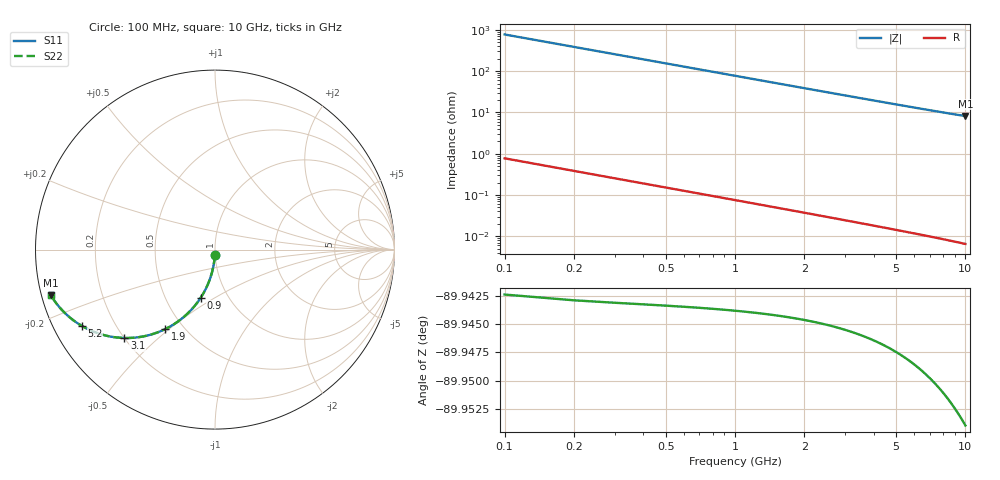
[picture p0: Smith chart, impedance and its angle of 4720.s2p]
# Hz S RI R 50.00
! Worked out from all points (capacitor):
!   100 points, 100 MHz to 10 GHz, reference 50 ohm
!   read as one part in shunt: C = 2.07 pF near 100 MHz
!   lowest |Z| = 8.14 ohm at 10 GHz (marker M1)
!   S11 on the Smith chart (normalised r, x): 100 MHz: 1.00, -0.06; 900 MHz: 0.75, -0.43; 1.9 GHz: 0.40, -0.48; 3.1 GHz: 0.20, -0.39; 5.2 GHz: 0.08, -0.26; 10 GHz: 0.03, -0.14
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1e8  -0.00104 -0.0323  0.9989 -0.0327  0.9989 -0.0327  -0.00104 -0.0323
2e8  -0.00422 -0.0643  0.9957 -0.0652  0.9957 -0.0652  -0.00422 -0.0643
3e8  -0.00947 -0.0959  0.9904 -0.0973  0.9904 -0.0973  -0.00947 -0.0959
4e8  -0.0167 -0.127  0.9832 -0.1288  0.9832 -0.1288  -0.0167 -0.127
5e8  -0.0258 -0.1572  0.974 -0.1595  0.974 -0.1595  -0.0258 -0.1572
6e8  -0.0368 -0.1865  0.9631 -0.1892  0.9631 -0.1892  -0.0368 -0.1865
7e8  -0.0494 -0.2147  0.9505 -0.2179  0.9505 -0.2179  -0.0494 -0.2147
9e8  -0.0791 -0.2674  0.9208 -0.2714  0.9208 -0.2714  -0.0791 -0.2674
1.1e9  -0.1136 -0.3145  0.8863 -0.3194  0.8863 -0.3194  -0.1136 -0.3145
1.3e9  -0.1518 -0.3555  0.8481 -0.3613  0.8481 -0.3613  -0.1518 -0.3555
1.5e9  -0.1924 -0.3904  0.8075 -0.3971  0.8075 -0.3971  -0.1924 -0.3904
1.8e9  -0.2554 -0.4316  0.7445 -0.4396  0.7445 -0.4396  -0.2554 -0.4316
1.9e9  -0.2764 -0.4425  0.7234 -0.451  0.7234 -0.451  -0.2764 -0.4425
2.5e9  -0.3981 -0.4834  0.6017 -0.4946  0.6017 -0.4946  -0.3981 -0.4834
3.1e9  -0.5043 -0.4925  0.4955 -0.5065  0.4955 -0.5065  -0.5043 -0.4925
3.4e9  -0.5504 -0.4892  0.4494 -0.5046  0.4494 -0.5046  -0.5504 -0.4892
4.2e9  -0.6516 -0.4664  0.3481 -0.4855  0.3481 -0.4855  -0.6516 -0.4664
5.1e9  -0.7343 -0.4294  0.2653 -0.4528  0.2653 -0.4528  -0.7343 -0.4294
5.2e9  -0.7418 -0.4251  0.2578 -0.4489  0.2578 -0.4489  -0.7418 -0.4251
6.7e9  -0.8274 -0.3616  0.172 -0.3926  0.172 -0.3926  -0.8274 -0.3616
8.4e9  -0.8836 -0.2999  0.1155 -0.3393  0.1155 -0.3393  -0.8836 -0.2999
1e10  -0.9156 -0.2527  0.0831 -0.3002  0.0831 -0.3002  -0.9156 -0.2527
